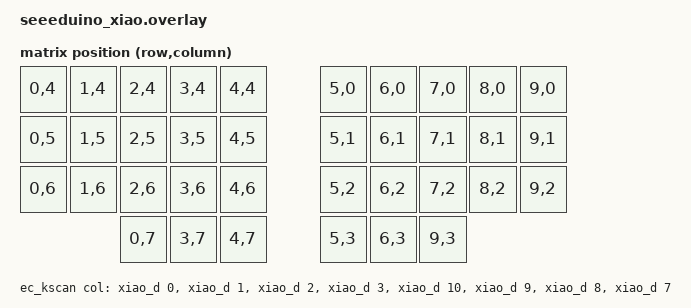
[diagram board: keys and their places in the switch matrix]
/*
 * Copyright (c) 2026 carrefinho
 * SPDX-License-Identifier: MIT
 *
 * Caroline with a Seeed XIAO SAMD21 Plus.
 * 36 EC keys, no analog front end. The board's rows are this driver's columns
 * (sense lines, on the ADC) and its columns are this driver's strobes; the
 * transform below swaps them back.
 *
 * JP1-JP4 must be bridged C-B: each row's left half then has its own ADC pad
 * on D10-D7 and the right half stays on D0-D3, so there are eight sense lines
 * of at most five keys each.
 *
 *   ROW0_R -> D0  PA02 MUXPOS 0      COL0 -> D27 PA18    COL5 -> D22 PB10
 *   ROW1_R -> D1  PA04 MUXPOS 4      COL1 -> D26 PA22    COL6 -> D4  PA08
 *   ROW2_R -> D2  PA10 MUXPOS 18     COL2 -> D25 PA23    COL7 -> D23 PB11
 *   ROW3_R -> D3  PA11 MUXPOS 19     COL3 -> D20 PA20    COL8 -> D5  PA09
 *   ROW0_L -> D10 PA06 MUXPOS 6      COL4 -> D19 PA19    COL9 -> D6  PB08
 *   ROW1_L -> D9  PA05 MUXPOS 5
 *   ROW2_L -> D8  PA07 MUXPOS 7
 *   ROW3_L -> D7  PB09 MUXPOS 3
 *
 * Pad positions from the PCB footprint (Xiao_nRF52840_Plus: pads 15-20 are
 * the interstitials on the D0-D6 edge, 21-23 the ones on the D10-D7 edge,
 * with 21 between D10 and D9), matched by position against Seeed's Plus
 * pinout (D25 between D10 and D9, D27 between D8 and D7). Seeed's own header
 * symbol numbers that edge the other way round (21 = D27), so go by position.
 *
 * THIS BUILDS ON seeeduino_xiao, the original XIAO SAMD21. Same chip and same
 * front pads; the gaps that matter here:
 *
 *  - The original has LEDs on PA17/PA18/PA19. On the Plus PA18 and PA19 are
 *    pads, COL0 and COL4 here, so the gpio-leds node goes.
 *  - dac0 (PA02), sercom0 (PA05-PA07), sercom2 (PA08/PA09) and sercom4
 *    (PB08/PB09, the default console) all sit on pads this board senses or
 *    strobes. The Zephyr ADC driver goes too: this driver owns the converter.
 *  - The extra castellations are not in the xiao_d connector map, so they are
 *    addressed as &porta / &portb directly.
 */

#include <dt-bindings/zmk/matrix_transform.h>

&dac0 { status = "disabled"; };
&sercom0 { status = "disabled"; };
&sercom2 { status = "disabled"; };
&sercom4 { status = "disabled"; };
&adc { status = "disabled"; };

/* sercom4 was the console. This puts it, and the `ecd` shell when enabled,
 * on CDC ACM over the USB device ZMK already runs. */
&zephyr_udc0 {
	cdc_acm_uart0: cdc_acm_uart0 {
		compatible = "zephyr,cdc-acm-uart";
	};
};

/ {
	leds {
		status = "disabled";
	};

	chosen {
		zephyr,console = &cdc_acm_uart0;
		zephyr,shell-uart = &cdc_acm_uart0;
		zmk,physical-layout = &ec_layout;
	};

	ec_kscan: ec_kscan {
		compatible = "zmk,kscan-ec-direct";

		/* Same eight pins, twice: once as MUXPOS values, once as GPIOs.
		 * Order must match; the backend checks the correspondence. */
		ain-channels = <0 4 18 19 6 5 7 3>;
		col-gpios
			= <&xiao_d 0 GPIO_ACTIVE_HIGH>      /* ROW0_R, PA02 */
			, <&xiao_d 1 GPIO_ACTIVE_HIGH>      /* ROW1_R, PA04 */
			, <&xiao_d 2 GPIO_ACTIVE_HIGH>      /* ROW2_R, PA10 */
			, <&xiao_d 3 GPIO_ACTIVE_HIGH>      /* ROW3_R, PA11 */
			, <&xiao_d 10 GPIO_ACTIVE_HIGH>     /* ROW0_L, PA06 */
			, <&xiao_d 9 GPIO_ACTIVE_HIGH>      /* ROW1_L, PA05 */
			, <&xiao_d 8 GPIO_ACTIVE_HIGH>      /* ROW2_L, PA07 */
			, <&xiao_d 7 GPIO_ACTIVE_HIGH>      /* ROW3_L, PB09 */
			;

		/* ACTIVE_LOW on purpose: idle high, falling edge, which is what
		 * the pull-up prime needs (bias-pull-up in the binding). */
		strobe-gpios
			= <&porta 18 GPIO_ACTIVE_LOW>       /* COL0, D27 */
			, <&porta 22 GPIO_ACTIVE_LOW>       /* COL1, D26 */
			, <&porta 23 GPIO_ACTIVE_LOW>       /* COL2, D25 */
			, <&porta 20 GPIO_ACTIVE_LOW>       /* COL3, D20 */
			, <&porta 19 GPIO_ACTIVE_LOW>       /* COL4, D19 */
			, <&portb 10 GPIO_ACTIVE_LOW>       /* COL5, D22 */
			, <&porta 8 GPIO_ACTIVE_LOW>        /* COL6, D4 */
			, <&portb 11 GPIO_ACTIVE_LOW>       /* COL7, D23 */
			, <&porta 9 GPIO_ACTIVE_LOW>        /* COL8, D5 */
			, <&portb 8 GPIO_ACTIVE_LOW>        /* COL9, D6 */
			;

		/*
		 * Cut from the assembled board. Raw, a key pressed
		 * alone reads 284-506 over released, but every held key takes
		 * 15-20 % off the others on its five-key line: all five down left
		 * the weakest at 137 and an unpressed key at about -75.
		 *
		 * load-comp-scale corrects that. 3850 was fitted from those
		 * rollover runs and checked on the board: a key reads the same
		 * with three or four neighbours down and an unpressed one stays
		 * within +-30 of rest. Compensated, a lone press is 346-671
		 * (median 498), so 150 is ~43 % of the weakest key and no longer
		 * moves with what else is held. Idle noise is ~11 counts
		 * peak-to-peak at rest (20 on ROW0_R) and ~1.5x that under a
		 * fully held line.
		 */
		press-threshold = <150>;
		release-threshold = <100>;
		load-comp-scale = <3850>;

		/*
		 * Pull-up prime, two primes, no dwell. settle-us 0 reads the
		 * same as 200 on this board (resting levels moved +0.5 on
		 * average, idle sd unchanged at 1.1-1.5) and takes a fifth of
		 * the time.
		 */
		bias-pull-up;
		bias-us = <0>;
		prime-conversions = <2>;
		settle-us = <0>;

		/*
		 * 200 Hz. Measured pass, 36 cells, bare pads:
		 *   NAVG 2  2.55 ms  idle sd 2.1-3.0
		 *   NAVG 3  3.86 ms  idle sd 1.7-2.3
		 *   NAVG 4  5.13 ms  idle sd 1.5-2.2   (misses 5 ms; fine at 6)
		 * with ROW0_R (D0) at about twice those. The floor is the converter:
		 * a single-shot conversion is 5.0 us and a cell needs four. One
		 * prime instead of two shifts pedestals (+59 on one cell); not
		 * used.
		 */
		poll-interval-ms = <5>;
	};

	ec_transform: ec_transform {
		compatible = "zmk,matrix-transform";
		columns = <8>;
		rows = <10>;
		/* RC(strobe, sense) = RC(board column, sense line); sense lines
		 * 0-3 are ROW0-3_R, 4-7 are ROW0-3_L. */
		map = <
			RC(0,4) RC(1,4) RC(2,4) RC(3,4) RC(4,4) RC(5,0) RC(6,0) RC(7,0) RC(8,0) RC(9,0)
			RC(0,5) RC(1,5) RC(2,5) RC(3,5) RC(4,5) RC(5,1) RC(6,1) RC(7,1) RC(8,1) RC(9,1)
			RC(0,6) RC(1,6) RC(2,6) RC(3,6) RC(4,6) RC(5,2) RC(6,2) RC(7,2) RC(8,2) RC(9,2)
			RC(0,7)                 RC(3,7) RC(4,7) RC(5,3) RC(6,3)                 RC(9,3)
		>;
	};
};
